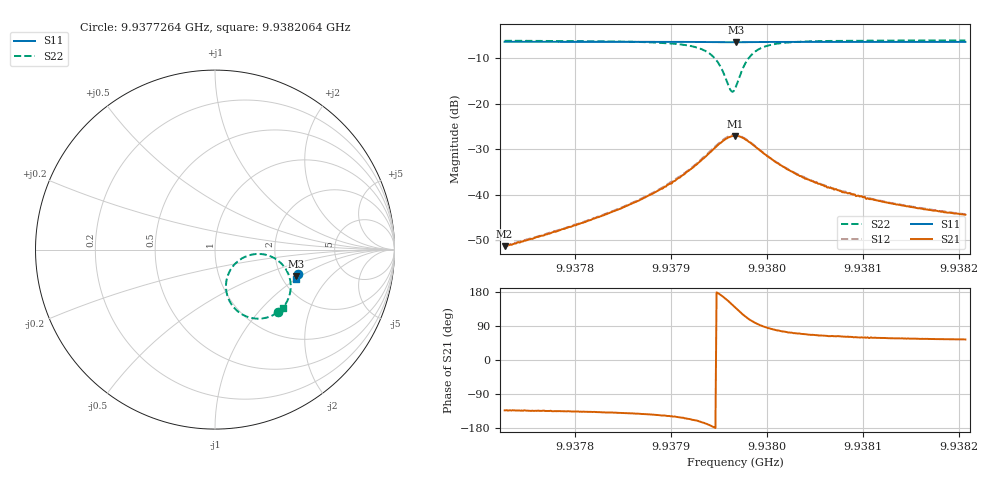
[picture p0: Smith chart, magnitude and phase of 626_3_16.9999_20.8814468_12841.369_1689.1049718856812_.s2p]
#  HZ  S  RI  R  50.00
! Rohde & Schwarz Vector Network Analyzer
! Rohde-Schwarz,ZNB20-2Port,1311601062101988,3.16
! Created: UTC 3/20/2024, 11:20:09 PM
! freq[Hz]  re:S11  im:S11  re:S21  im:S21  re:S12  im:S12  re:S22  im:S22
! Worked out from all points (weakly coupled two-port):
!   401 points, 9.9377264 GHz to 9.9382064 GHz, reference 50 ohm
!   highest |S21| = -27.02 dB at 9.9379664 GHz (marker M1); lowest = -51.3 dB at 9.9377264 GHz (marker M2)
!   lowest |S11| = -6.5 dB at 9.9379676 GHz (marker M3), VSWR 2.81, Z = 120 - j46.1 ohm
!   |S11| at or under -10 dB: nowhere
!   |S22| runs from -17.3 to -6.1 dB; largest |S21 - S12| = 0.0021
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9.93772636e9  0.4621 -0.1362  -0.00187 -0.002  -0.00188 -0.002  0.3491 -0.3495
9.93780676e9  0.4599 -0.1419  -0.00358 -0.00339  -0.00369 -0.00338  0.3296 -0.3619
9.93785116e9  0.4587 -0.1448  -0.00568 -0.00473  -0.00584 -0.00477  0.3086 -0.3721
9.93788717e9  0.4574 -0.1474  -0.00935 -0.00641  -0.00958 -0.00638  0.2752 -0.3817
9.93791957e9  0.4558 -0.1498  -0.0173 -0.0077  -0.0179 -0.00758  0.2072 -0.3816
9.93793757e9  0.4539 -0.151  -0.0271 -0.00512  -0.0279 -0.00469  0.1311 -0.3473
9.93794357e9  0.4532 -0.1512  -0.0315 -0.00195  -0.0324 -0.00136  0.0997 -0.316
9.93794957e9  0.4524 -0.151  -0.036 0.00323  -0.0369 0.00437  0.072 -0.2662
9.93795557e9  0.4517 -0.1506  -0.0387 0.0113  -0.0395 0.0129  0.0614 -0.1952
9.93796157e9  0.4515 -0.1497  -0.0381 0.0214  -0.0382 0.0235  0.0853 -0.1142
9.93796397e9  0.4515 -0.1492  -0.0363 0.0257  -0.0362 0.0277  0.1068 -0.0844
9.93796637e9  0.4516 -0.149  -0.0336 0.0293  -0.0333 0.0313  0.134 -0.0598
9.93796757e9  0.4516 -0.1487  -0.0319 0.0308  -0.0316 0.0328  0.1491 -0.0497
9.93797357e9  0.4526 -0.1484  -0.0227 0.0364  -0.0218 0.0378  0.2317 -0.0245
9.93797837e9  0.4532 -0.1483  -0.0153 0.0369  -0.0141 0.038  0.2919 -0.0314
9.93798437e9  0.4542 -0.1489  -0.00765 0.0352  -0.00656 0.0359  0.3481 -0.0589
9.93799037e9  0.4547 -0.1494  -0.00238 0.032  -0.00144 0.0323  0.3832 -0.093
9.93800957e9  0.4552 -0.1516  0.00455 0.0222  0.00506 0.0224  0.4204 -0.1808
9.93804678e9  0.4546 -0.1551  0.00564 0.013  0.00598 0.013  0.4144 -0.2571
9.93807798e9  0.4537 -0.1575  0.00505 0.00947  0.00537 0.00963  0.4038 -0.2842
9.93812718e9  0.4525 -0.1609  0.00436 0.00687  0.00457 0.00689  0.3912 -0.3064
9.93820639e9  0.4501 -0.1662  0.00354 0.00492  0.00368 0.00491  0.3777 -0.3244
